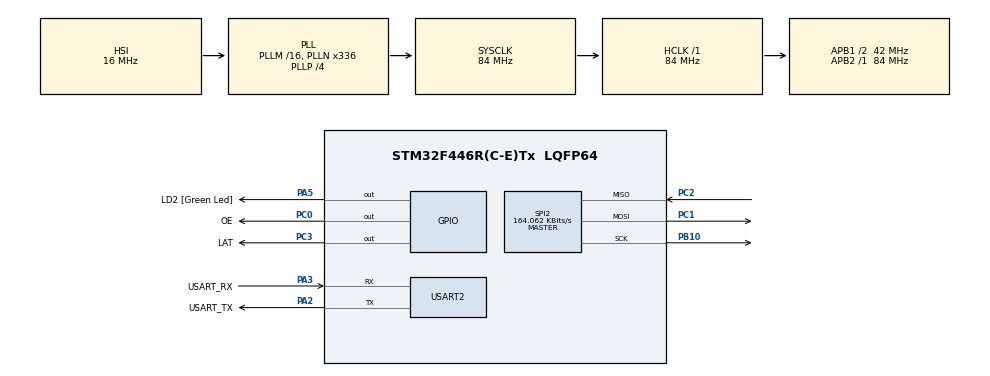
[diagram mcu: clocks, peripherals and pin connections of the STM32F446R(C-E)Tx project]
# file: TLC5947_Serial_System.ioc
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Mcu.Family=STM32F4
Mcu.Name=STM32F446R(C-E)Tx
Mcu.Package=LQFP64
NVIC.PriorityGroup=NVIC_PRIORITYGROUP_0
PA13.GPIO_Label=TMS
PA13.Mode=Serial_Wire
PA13.Signal=SYS_JTMS-SWDIO
PA14.GPIO_Label=TCK
PA14.Mode=Serial_Wire
PA14.Signal=SYS_JTCK-SWCLK
PA2.GPIO_Label=USART_TX
PA2.Mode=Asynchronous
PA2.Signal=USART2_TX
PA3.GPIO_Label=USART_RX
PA3.Mode=Asynchronous
PA3.Signal=USART2_RX
PA5.GPIO_Label=LD2 [Green Led]
PA5.Signal=GPIO_Output
PB10.Mode=Full_Duplex_Master
PB10.Signal=SPI2_SCK
PB3.GPIO_Label=SWO
PB3.Signal=SYS_JTDO-SWO
PC0.GPIO_Label=OE
PC0.Signal=GPIO_Output
PC1.Mode=Full_Duplex_Master
PC1.Signal=SPI2_MOSI
PC14-OSC32_IN.Mode=LSE-External-Oscillator
PC14-OSC32_IN.Signal=RCC_OSC32_IN
PC15-OSC32_OUT.Mode=LSE-External-Oscillator
PC15-OSC32_OUT.Signal=RCC_OSC32_OUT
PC2.Mode=Full_Duplex_Master
PC2.Signal=SPI2_MISO
PC3.GPIO_Label=LAT
PC3.Signal=GPIO_Output
PH0-OSC_IN.Mode=HSE-External-Oscillator
PH0-OSC_IN.Signal=RCC_OSC_IN
PH1-OSC_OUT.Mode=HSE-External-Oscillator
PH1-OSC_OUT.Signal=RCC_OSC_OUT
ProjectManager.HeapSize=0x200
ProjectManager.StackSize=0x400
ProjectManager.TargetToolchain=STM32CubeIDE
RCC.48MHZClocksFreq_Value=84000000
RCC.AHBFreq_Value=84000000
RCC.APB1CLKDivider=RCC_HCLK_DIV2
RCC.APB1Freq_Value=42000000
RCC.APB1TimFreq_Value=84000000
RCC.APB2Freq_Value=84000000
RCC.APB2TimFreq_Value=84000000
RCC.CortexFreq_Value=84000000
RCC.FLatency-AdvancedSettings=FLASH_LATENCY_2
RCC.HCLKFreq_Value=84000000
RCC.HSE_VALUE=8000000
RCC.HSI_VALUE=16000000
RCC.PLLN=336
RCC.PLLP=RCC_PLLP_DIV4
RCC.SYSCLKFreq_VALUE=84000000
RCC.SYSCLKSource=RCC_SYSCLKSOURCE_PLLCLK
RCC.USBFreq_Value=168000000
RCC.VCOOutputFreq_Value=336000000
SPI2.BaudRatePrescaler=SPI_BAUDRATEPRESCALER_256
SPI2.CLKPhase=SPI_PHASE_1EDGE
SPI2.CLKPolarity=SPI_POLARITY_LOW
SPI2.CalculateBaudRate=164.062 KBits/s
SPI2.DataSize=SPI_DATASIZE_8BIT
SPI2.Direction=SPI_DIRECTION_2LINES
SPI2.FirstBit=SPI_FIRSTBIT_MSB
SPI2.Mode=SPI_MODE_MASTER
SPI2.VirtualType=VM_MASTER
USART2.VirtualMode=VM_ASYNC
board=NUCLEO-F446RE

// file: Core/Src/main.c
/* USER CODE BEGIN Header */
/**
  ******************************************************************************
  * @file           : main.c
  * @brief          : Main program body
  ******************************************************************************
  * @attention
  *
  * Copyright (c) 2026 STMicroelectronics.
  * All rights reserved.
  *
  * This software is licensed under terms that can be found in the LICENSE file
  * in the root directory of this software component.
  * If no LICENSE file comes with this software, it is provided AS-IS.
  *
  ******************************************************************************
  */
/* USER CODE END Header */
#include "main.h"

/* USER CODE BEGIN Includes */
#include <math.h>
/* USER CODE END Includes */

/* USER CODE BEGIN PD */
#define TLC_CHANNELS 24
#define TLC_BITS_PER_CH 12
#define TLC_BYTES ((TLC_CHANNELS * TLC_BITS_PER_CH) / 8) // 36
/* USER CODE END PD */

SPI_HandleTypeDef hspi2;

UART_HandleTypeDef huart2;

/* USER CODE BEGIN PV */

uint16_t pwm[TLC_CHANNELS];
uint8_t dataBuffer[TLC_BYTES];

/* USER CODE END PV */

void SystemClock_Config(void);
static void MX_GPIO_Init(void);
static void MX_USART2_UART_Init(void);
static void MX_SPI2_Init(void);

int main(void)
{

  /* MCU Configuration--------------------------------------------------------*/

  /* Reset of all peripherals, Initializes the Flash interface and the Systick. */
  HAL_Init();

  /* Configure the system clock */
  SystemClock_Config();

  /* Initialize all configured peripherals */
  MX_GPIO_Init();
  MX_USART2_UART_Init();
  MX_SPI2_Init();

  /* Infinite loop */
  /* USER CODE BEGIN WHILE */

  // ONE-TIME: set only CH0 (assumed = first LED Red) to full on.
  uint8_t buf[36] = {0};

  buf[33] = 0x0C;
  buf[34] = 0x00;
  buf[35] = 0x00;

  //for (int i = 0; i < 36; i++)
      //buf[i] = 0xFF;   // this produces 0xFFF on every 12-bit channel

  // /OE is active-low: HIGH = outputs OFF, LOW = outputs ON

  HAL_GPIO_WritePin(LAT_GPIO_Port, LAT_Pin, GPIO_PIN_RESET); // hold LAT low while shifting
  HAL_SPI_Transmit(&hspi2, buf, 36, HAL_MAX_DELAY);

  // latch (data transfers to outputs on rising edge)
  HAL_GPIO_WritePin(LAT_GPIO_Port, LAT_Pin, GPIO_PIN_SET);
  HAL_GPIO_WritePin(LAT_GPIO_Port, LAT_Pin, GPIO_PIN_RESET);

  HAL_GPIO_WritePin(OE_GPIO_Port, OE_Pin, GPIO_PIN_RESET);   // outputs ON

  while (1)
  {
	HAL_GPIO_WritePin(OE_GPIO_Port, OE_Pin, GPIO_PIN_RESET);   // outputs ON
	HAL_GPIO_WritePin(LAT_GPIO_Port, LAT_Pin, GPIO_PIN_RESET); // hold LAT low while shifting

	HAL_SPI_Transmit(&hspi2, buf, 36, HAL_MAX_DELAY);

	HAL_GPIO_WritePin(LAT_GPIO_Port, LAT_Pin, GPIO_PIN_SET);
	HAL_GPIO_WritePin(LAT_GPIO_Port, LAT_Pin, GPIO_PIN_RESET);
	HAL_Delay(100);
    /* USER CODE END WHILE */

  }
}

void SystemClock_Config(void)
{
  RCC_OscInitTypeDef RCC_OscInitStruct = {0};
  RCC_ClkInitTypeDef RCC_ClkInitStruct = {0};

  /** Configure the main internal regulator output voltage
  */
  __HAL_RCC_PWR_CLK_ENABLE();
  __HAL_PWR_VOLTAGESCALING_CONFIG(PWR_REGULATOR_VOLTAGE_SCALE3);

  /** Initializes the RCC Oscillators according to the specified parameters
  * in the RCC_OscInitTypeDef structure.
  */
  RCC_OscInitStruct.OscillatorType = RCC_OSCILLATORTYPE_HSI;
  RCC_OscInitStruct.HSIState = RCC_HSI_ON;
  RCC_OscInitStruct.HSICalibrationValue = RCC_HSICALIBRATION_DEFAULT;
  RCC_OscInitStruct.PLL.PLLState = RCC_PLL_ON;
  RCC_OscInitStruct.PLL.PLLSource = RCC_PLLSOURCE_HSI;
  RCC_OscInitStruct.PLL.PLLM = 16;
  RCC_OscInitStruct.PLL.PLLN = 336;
  RCC_OscInitStruct.PLL.PLLP = RCC_PLLP_DIV4;
  RCC_OscInitStruct.PLL.PLLQ = 2;
  RCC_OscInitStruct.PLL.PLLR = 2;
  if (HAL_RCC_OscConfig(&RCC_OscInitStruct) != HAL_OK)
  {
    Error_Handler();
  }

  /** Initializes the CPU, AHB and APB buses clocks
  */
  RCC_ClkInitStruct.ClockType = RCC_CLOCKTYPE_HCLK|RCC_CLOCKTYPE_SYSCLK
                              |RCC_CLOCKTYPE_PCLK1|RCC_CLOCKTYPE_PCLK2;
  RCC_ClkInitStruct.SYSCLKSource = RCC_SYSCLKSOURCE_PLLCLK;
  RCC_ClkInitStruct.AHBCLKDivider = RCC_SYSCLK_DIV1;
  RCC_ClkInitStruct.APB1CLKDivider = RCC_HCLK_DIV2;
  RCC_ClkInitStruct.APB2CLKDivider = RCC_HCLK_DIV1;

  if (HAL_RCC_ClockConfig(&RCC_ClkInitStruct, FLASH_LATENCY_2) != HAL_OK)
  {
    Error_Handler();
  }
}

static void MX_SPI2_Init(void)
{

  /* SPI2 parameter configuration*/
  hspi2.Instance = SPI2;
  hspi2.Init.Mode = SPI_MODE_MASTER;
  hspi2.Init.Direction = SPI_DIRECTION_2LINES;
  hspi2.Init.DataSize = SPI_DATASIZE_8BIT;
  hspi2.Init.CLKPolarity = SPI_POLARITY_LOW;
  hspi2.Init.CLKPhase = SPI_PHASE_1EDGE;
  hspi2.Init.NSS = SPI_NSS_SOFT;
  hspi2.Init.BaudRatePrescaler = SPI_BAUDRATEPRESCALER_256;
  hspi2.Init.FirstBit = SPI_FIRSTBIT_MSB;
  hspi2.Init.TIMode = SPI_TIMODE_DISABLE;
  hspi2.Init.CRCCalculation = SPI_CRCCALCULATION_DISABLE;
  hspi2.Init.CRCPolynomial = 10;
  if (HAL_SPI_Init(&hspi2) != HAL_OK)
  {
    Error_Handler();
  }

}

static void MX_USART2_UART_Init(void)
{

  huart2.Instance = USART2;
  huart2.Init.BaudRate = 115200;
  huart2.Init.WordLength = UART_WORDLENGTH_8B;
  huart2.Init.StopBits = UART_STOPBITS_1;
  huart2.Init.Parity = UART_PARITY_NONE;
  huart2.Init.Mode = UART_MODE_TX_RX;
  huart2.Init.HwFlowCtl = UART_HWCONTROL_NONE;
  huart2.Init.OverSampling = UART_OVERSAMPLING_16;
  if (HAL_UART_Init(&huart2) != HAL_OK)
  {
    Error_Handler();
  }

}

static void MX_GPIO_Init(void)
{
  GPIO_InitTypeDef GPIO_InitStruct = {0};

  /* GPIO Ports Clock Enable */
  __HAL_RCC_GPIOC_CLK_ENABLE();
  __HAL_RCC_GPIOH_CLK_ENABLE();
  __HAL_RCC_GPIOA_CLK_ENABLE();
  __HAL_RCC_GPIOB_CLK_ENABLE();

  /*Configure GPIO pin Output Level */
  HAL_GPIO_WritePin(GPIOC, OE_Pin|LAT_Pin, GPIO_PIN_RESET);

  /*Configure GPIO pin Output Level */
  HAL_GPIO_WritePin(LD2_GPIO_Port, LD2_Pin, GPIO_PIN_RESET);

  /*Configure GPIO pins : OE_Pin LAT_Pin */
  GPIO_InitStruct.Pin = OE_Pin|LAT_Pin;
  GPIO_InitStruct.Mode = GPIO_MODE_OUTPUT_PP;
  GPIO_InitStruct.Pull = GPIO_NOPULL;
  GPIO_InitStruct.Speed = GPIO_SPEED_FREQ_LOW;
  HAL_GPIO_Init(GPIOC, &GPIO_InitStruct);

  /*Configure GPIO pin : LD2_Pin */
  GPIO_InitStruct.Pin = LD2_Pin;
  GPIO_InitStruct.Mode = GPIO_MODE_OUTPUT_PP;
  GPIO_InitStruct.Pull = GPIO_NOPULL;
  GPIO_InitStruct.Speed = GPIO_SPEED_FREQ_LOW;
  HAL_GPIO_Init(LD2_GPIO_Port, &GPIO_InitStruct);

}

void Error_Handler(void)
{
  __disable_irq();
  while (1)
  {
  }
}
